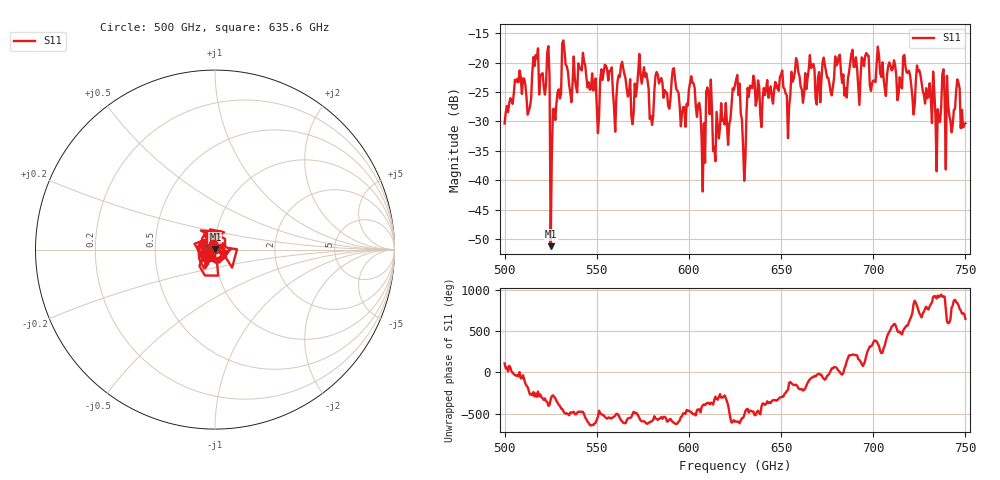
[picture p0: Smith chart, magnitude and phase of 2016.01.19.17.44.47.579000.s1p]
!Created with skrf (http://scikit-rf.org).
# GHz S RI R 50.0
!freq ReS11 ImS11
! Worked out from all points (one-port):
!   401 points, 500 GHz to 750 GHz, reference 50 ohm
!   lowest |S11| = -51.2 dB at 525 GHz (marker M1), VSWR 1.01, Z = 50.2 + j0.15 ohm
!   |S11| at or under -10 dB: start of sweep to end of sweep
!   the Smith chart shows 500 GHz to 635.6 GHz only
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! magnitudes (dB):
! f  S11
! 500 GHz  -30.3
! 507.5 GHz  -23.3
! 513.1 GHz  -28.2
! 516.9 GHz  -18.7
! 523.1 GHz  -18.2
! 525 GHz  -51.2
! 526.2 GHz  -27.9
! 531.2 GHz  -16.7
! 550 GHz  -27.2
! 562.5 GHz  -22.4
! 570 GHz  -28.6
! 576.2 GHz  -22.4
! 580 GHz  -30.6
! 583.1 GHz  -22.0
! 593.8 GHz  -24.8
! 601.9 GHz  -23.4
! 607.5 GHz  -41.9
! 610.6 GHz  -25.2
! 614.4 GHz  -36.8
! 625 GHz  -23.7
! 629.4 GHz  -34.1
! 634.4 GHz  -24.3
! 656.2 GHz  -23.2
! 687.5 GHz  -20.0
! 718.8 GHz  -21.7
! 735 GHz  -27.9
! 745.6 GHz  -22.8
! 750 GHz  -30.3
